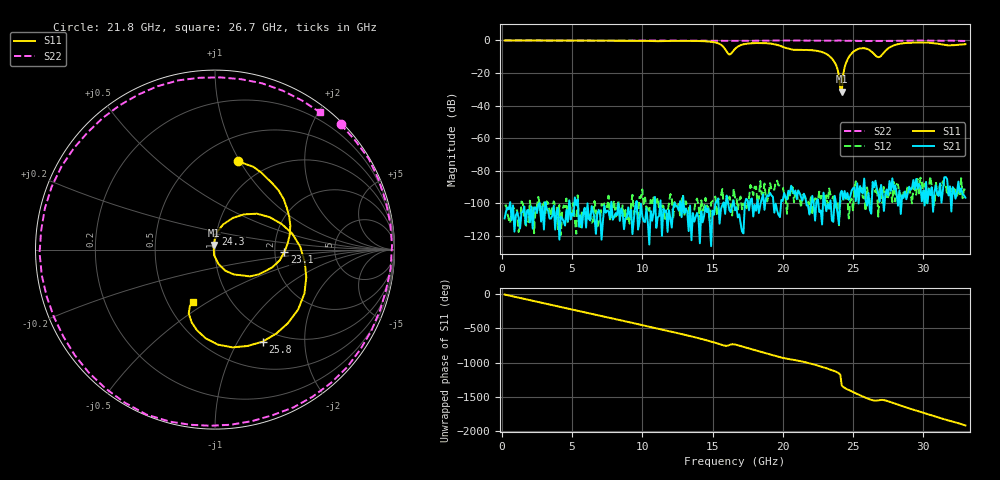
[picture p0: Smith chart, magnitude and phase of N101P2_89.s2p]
# GHZ S RI R 50
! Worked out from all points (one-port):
!   329 points, 200 MHz to 33 GHz, reference 50 ohm
!   lowest |S11| = -31.4 dB at 24.2 GHz (marker M1), VSWR 1.06, Z = 49.2 + j2.54 ohm
!   |S11| at or under -10 dB: 23.36 GHz to 24.72 GHz (1.36 GHz wide, 5.66 % of centre); 26.72 GHz to 26.92 GHz (201.9 MHz wide, 0.753 % of centre)
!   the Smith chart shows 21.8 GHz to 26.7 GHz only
!   S11 on the Smith chart (normalised r, x): 21.8 GHz: 0.74, +0.98; 23.1 GHz: 2.26, -0.07; 24.3 GHz: 0.99, +0.18; 25.8 GHz: 0.83, -1.28; 26.7 GHz: 0.67, -0.44
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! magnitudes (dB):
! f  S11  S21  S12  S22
! 200 MHz  0.0  -109.3  -101.7  0.0
! 5.7 GHz  -0.1  -115.0  -104.8  -0.1
! 11.2 GHz  -0.4  -107.8  -103.5  -0.1
! 15.2 GHz  -1.2  -100.1  -95.9  -0.2
! 16.2 GHz  -8.7  -104.2  -95.9  -0.3
! 16.6 GHz  -5.2  -104.4  -96.5  -0.2
! 18.5 GHz  -1.6  -97.5  -94.7  -0.1
! 21.8 GHz  -5.9  -101.4  -98.9  -0.1
! 22.1 GHz  -6.0  -95.5  -107.2  -0.1
! 23.1 GHz  -8.3  -104.9  -95.2  -0.1
! 23.8 GHz  -15.2  -100.8  -102.0  -0.1
! 24 GHz  -21.7  -113.0  -113.5  0.0
! 24.1 GHz  -30.3  -94.1  -98.9  -0.1
! 24.2 GHz  -31.4  -92.4  -98.1  -0.1
! 24.3 GHz  -21.1  -97.6  -98.9  -0.2
! 24.5 GHz  -13.8  -97.3  -95.1  -0.2
! 24.8 GHz  -9.0  -96.0  -98.9  -0.2
! 25.8 GHz  -4.8  -84.9  -96.2  -0.3
! 26.7 GHz  -10.0  -91.0  -89.9  -0.3
! 27.6 GHz  -4.3  -86.4  -93.9  -0.2
! 29.2 GHz  -1.4  -90.5  -100.1  -0.1
! 33 GHz  -2.3  -96.6  -91.5  -0.3
